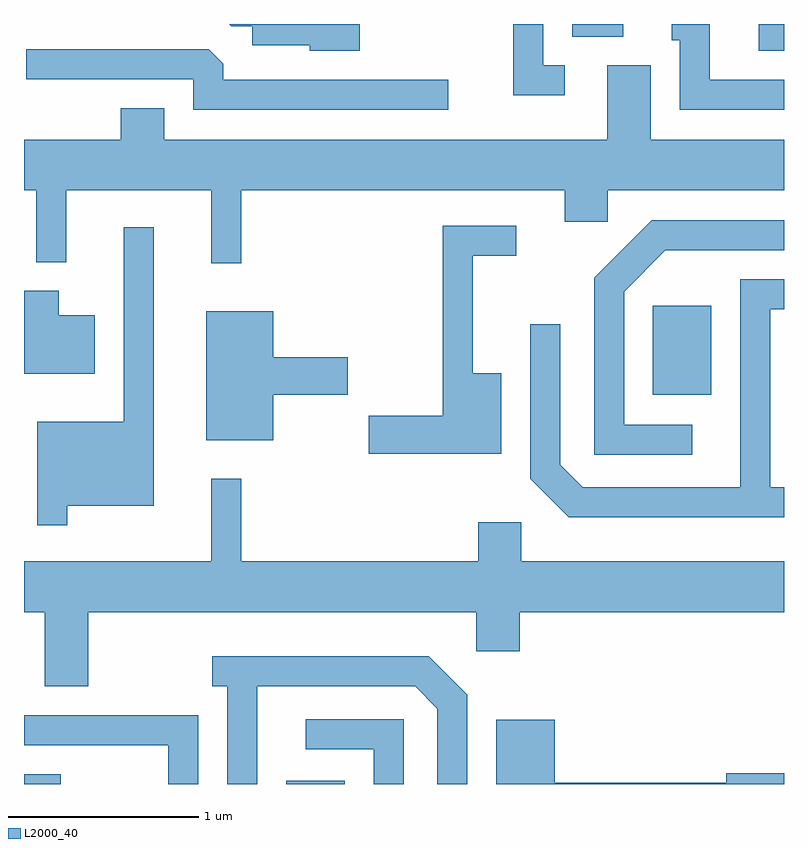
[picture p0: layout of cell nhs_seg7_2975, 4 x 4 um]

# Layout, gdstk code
import gdstk
lib = gdstk.Library(unit=1e-6, precision=1e-09)
def R(c, l, rs):  # rectangles x0, y0, x1, y1
    for r in rs: c.add(gdstk.rectangle(r[:2], r[2:], *l))
def P(c, l, *ps):  # polygons
    for p in ps: c.add(gdstk.Polygon(p, *l))
L2000_40 = (2000, 40)

nhs_seg7_2975 = lib.new_cell('nhs_seg7_2975')
R(nhs_seg7_2975, L2000_40, [(275.611,1762.252,275.804,1762.304), (276.991,1762.252,277.299,1762.269), (278.921,1764.301,279.229,1764.769), (279.478,1766.111,279.611,1766.252), (278.496,1766.186,278.764,1766.252)])
P(nhs_seg7_2975, L2000_40, [(278.458,1766.034),(278.344,1766.034),(278.344,1766.252),(278.186,1766.252),(278.186,1765.876),(278.458,1765.876)],
  [(277.379,1766.252),(276.691,1766.252),(276.702,1766.241),(276.811,1766.241),(276.811,1766.141),(277.116,1766.141),(277.116,1766.111),(277.379,1766.111)],
  [(279.611,1765.959),(279.219,1765.959),(279.219,1766.252),(279.021,1766.252),(279.021,1766.166),(279.061,1766.166),(279.061,1765.801),(279.611,1765.801)],
  [(277.843,1765.959),(276.659,1765.959),(276.659,1766.044),(276.584,1766.119),(275.623,1766.119),(275.623,1765.961),(276.501,1765.961),(276.501,1765.801),(277.843,1765.801)],
  [(276.754,1765.376),(278.456,1765.376),(278.456,1765.211),(278.684,1765.211),(278.684,1765.376),(279.611,1765.376),(279.611,1765.644),(278.909,1765.644),(278.909,1766.034),(278.681,1766.034),(278.681,1765.644),(276.349,1765.644),(276.349,1765.809),(276.121,1765.809),(276.121,1765.644),(275.611,1765.644),(275.611,1765.376),(275.676,1765.376),(275.676,1764.998),(275.834,1764.998),(275.834,1765.376),(276.596,1765.376),(276.596,1764.993),(276.754,1764.993)],
  [(279.128,1764.144),(278.769,1764.144),(278.769,1764.844),(278.987,1765.061),(279.611,1765.061),(279.611,1765.219),(278.914,1765.219),(278.611,1764.917),(278.611,1763.986),(279.128,1763.986)],
  [(278.124,1764.414),(277.974,1764.414),(277.974,1765.031),(278.203,1765.031),(278.203,1765.189),(277.816,1765.189),(277.816,1764.189),(277.426,1764.189),(277.426,1763.991),(278.124,1763.991)],
  [(275.839,1763.716),(276.294,1763.716),(276.294,1765.183),(276.136,1765.183),(276.136,1764.159),(275.681,1764.159),(275.681,1763.613),(275.839,1763.613)],
  [(279.611,1763.814),(279.539,1763.814),(279.539,1764.751),(279.611,1764.751),(279.611,1764.909),(279.381,1764.909),(279.381,1763.814),(278.552,1763.814),(278.434,1763.932),(278.434,1764.673),(278.276,1764.673),(278.276,1763.859),(278.479,1763.656),(279.611,1763.656)],
  [(275.984,1764.719),(275.794,1764.719),(275.794,1764.849),(275.611,1764.849),(275.611,1764.411),(275.984,1764.411)],
  [(276.924,1764.301),(277.314,1764.301),(277.314,1764.499),(276.924,1764.499),(276.924,1764.739),(276.571,1764.739),(276.571,1764.061),(276.924,1764.061)],
  [(276.754,1763.858),(276.596,1763.858),(276.596,1763.424),(275.611,1763.424),(275.611,1763.156),(275.721,1763.156),(275.721,1762.766),(275.949,1762.766),(275.949,1763.156),(277.991,1763.156),(277.991,1762.951),(278.219,1762.951),(278.219,1763.156),(279.611,1763.156),(279.611,1763.424),(278.229,1763.424),(278.229,1763.629),(278.001,1763.629),(278.001,1763.424),(276.754,1763.424)],
  [(276.839,1762.766),(277.669,1762.766),(277.786,1762.649),(277.786,1762.252),(277.944,1762.252),(277.944,1762.722),(277.742,1762.924),(276.603,1762.924),(276.603,1762.766),(276.681,1762.766),(276.681,1762.252),(276.839,1762.252)],
  [(276.529,1762.614),(275.611,1762.614),(275.611,1762.456),(276.371,1762.456),(276.371,1762.252),(276.529,1762.252)],
  [(277.609,1762.594),(277.093,1762.594),(277.093,1762.436),(277.451,1762.436),(277.451,1762.252),(277.609,1762.252)],
  [(279.611,1762.309),(279.306,1762.309),(279.306,1762.259),(278.404,1762.259),(278.404,1762.589),(278.096,1762.589),(278.096,1762.252),(279.611,1762.252)])

lib.write_gds('nhs_seg7_2975.gds')
